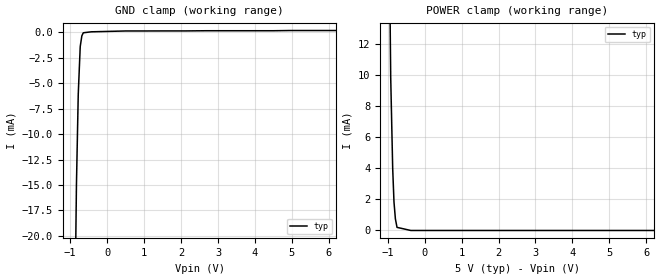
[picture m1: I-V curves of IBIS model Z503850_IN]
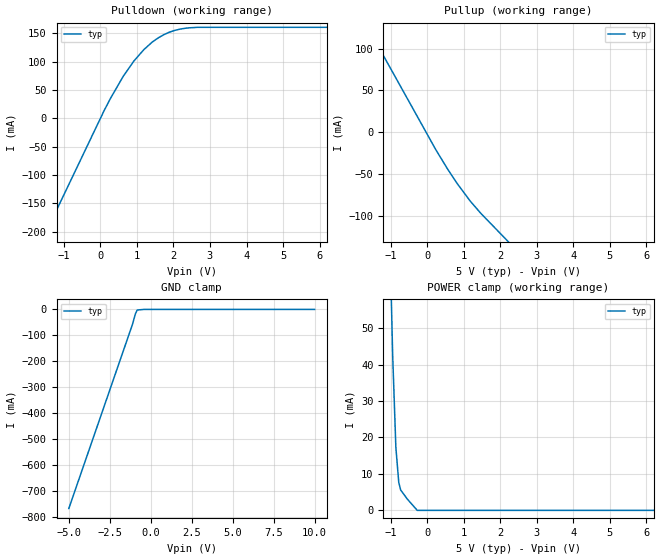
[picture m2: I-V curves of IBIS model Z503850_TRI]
| YOU ARE ONLY AUTHORIZED TO USE THIS SOFTWARE
| ACCORDING TO LICENSOR'S LICENSE RESTRICTIONS.
[IBIS Ver] 3.1
[File Name] mc74act253n.ibs
[File Rev] 2.0
[Source] Measured and created by ICX Technology
[Date] Friday 7/14/00 9:08:01 AM
[Copyright]
| (C) COPYRIGHT 1993-2000
| MENTOR GRAPHICS CORPORATION
| ICX STANDARD LIBRARY, ICX PROJECT MODELING,
| ICX CUSTOM MODELING, ICX VENDOR MODEL
| ALL RIGHTS RESERVED.
| THE FOLLOWING ARE TRADEMARKS OR SERVICE MARKS OF
| MENTOR GRAPHICS CORPORATION:ICX (R), ICX STANDARD
| LIBRARY(R), ICX PROJECT MODELING(R), ICX CUSTOM
| MODELING(R), qualityIBIS(TM), MODELVIEWER(TM),
| AND MODELEDITOR(TM)
| ALL COPIES OF SOFTWARE, INCLUDING BUT NOT LIMITED TO
| ANY MODIFICATIONS, ENHANCEMENTS OR DERIVATIVE WORKS,
| MUST CONTAIN ALL MENTOR GRAPHICS CORPORATION'S
| NOTICES AND LEGENDS, INCLUDING THOSE EMBEDDED IN
| SOFTWARE AND THOSE AFFIXED TO SOFTWARE MEDIUM
| AND CONTAINER, AS RECEIVED FROM MENTOR GRAPHICS
| CORPORATION.
|  ZAP Model Builder 2.7
[Component] MC74ACT253N
[Manufacturer] OnSemiconductor
[Package]
| variable   typ   min   max
R_pkg  .212ohms NA NA
L_pkg  4.758nH NA NA
C_pkg  1.143pF NA NA
[Pin] signal_name  model_name  R_pin  L_pin C_pin
1 _G1 Z503850_IN .224 7.258n 1.578p
2 B Z503850_IN .216 5.258n 1.288p
3 C3A Z503850_IN .208 3.758n .998p
4 C2A Z503850_IN .2 2.758n .708p
5 C1A Z503850_IN .2 2.758n .708p
6 C0A Z503850_IN .208 3.758n .998p
7 Y1 Z503850_TRI .216 5.258n 1.288p
8 GND GND .224 7.258n 1.578p
9 Y2 Z503850_TRI .224 7.258n 1.578p
10 C0B Z503850_IN .216 5.258n 1.288p
11 C1B Z503850_IN .208 3.758n .998p
12 C2B Z503850_IN .2 2.758n .708p
13 C3B Z503850_IN .2 2.758n .708p
14 A Z503850_IN .208 3.758n .998p
15 _G2 Z503850_IN .216 5.258n 1.288p
16 VCC POWER .224 7.258n 1.578p
| Models and submodels in the file (2): Z503850_IN (Input), Z503850_TRI (3-state)
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| (C) COPYRIGHT 1993-2000
| MENTOR GRAPHICS CORPORATION
| ICX STANDARD LIBRARY, ICX PROJECT MODELING,
| ICX CUSTOM MODELING, ICX VENDOR MODEL
| ALL RIGHTS RESERVED.
| THE FOLLOWING ARE TRADEMARKS OR SERVICE MARKS OF
| MENTOR GRAPHICS CORPORATION:ICX (R), ICX STANDARD
| LIBRARY(R), ICX PROJECT MODELING(R), ICX CUSTOM
| MODELING(R), qualityIBIS(TM), MODELVIEWER(TM),
| AND MODELEDITOR(TM)
| ALL COPIES OF SOFTWARE, INCLUDING BUT NOT LIMITED TO
| ANY MODIFICATIONS, ENHANCEMENTS OR DERIVATIVE WORKS,
| MUST CONTAIN ALL MENTOR GRAPHICS CORPORATION'S
| NOTICES AND LEGENDS, INCLUDING THOSE EMBEDDED IN
| SOFTWARE AND THOSE AFFIXED TO SOFTWARE MEDIUM
| AND CONTAINER, AS RECEIVED FROM MENTOR GRAPHICS
| CORPORATION.
| Model Application Version 1.89 2/18/99.
[Model] Z503850_IN
Model_type Input
Vinl = 800.0mV
Vinh = 2.000V
C_comp 4.000pF NA NA
| variable typ   min   max
[Voltage Range] 5.000V NA NA
[GND Clamp Reference] 0.000V NA NA
[POWER Clamp Reference] 5.000V NA NA
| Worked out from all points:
|   GND clamp passes 1 mA (typ) near -0.71 V on its own axis
|   POWER clamp passes 1 mA (typ) near -0.80 V on its own axis
[GND Clamp]
-5V       -2.607A    NA         NA
-1.011V   -69.76mA   NA         NA
-830.2mV  -14.98mA   NA         NA
-781.3mV  -6.082mA   NA         NA
-727.8mV  -1.402mA   NA         NA
-684.1mV  -352.2uA   NA         NA
-644.8mV  -49.21uA   NA         NA
-429.9mV  46.23uA    NA         NA
507.8mV   129.6uA    NA         NA
10V       174.1uA    NA         NA
[POWER Clamp]
-5V       1.847A     NA         NA
-1.133V   73.59mA    NA         NA
-1.016V   32.56mA    NA         NA
-918mV    9.916mA    NA         NA
-864mV    3.993mA    NA         NA
-829mV    1.837mA    NA         NA
-791mV    747.7uA    NA         NA
-747mV    200.2uA    NA         NA
-373.5mV  0A         NA         NA
10V       0A         NA         NA
| (C) COPYRIGHT 1993-2000
| MENTOR GRAPHICS CORPORATION
| ICX STANDARD LIBRARY, ICX PROJECT MODELING,
| ICX CUSTOM MODELING, ICX VENDOR MODEL
| ALL RIGHTS RESERVED.
| THE FOLLOWING ARE TRADEMARKS OR SERVICE MARKS OF
| MENTOR GRAPHICS CORPORATION:ICX (R), ICX STANDARD
| LIBRARY(R), ICX PROJECT MODELING(R), ICX CUSTOM
| MODELING(R), qualityIBIS(TM), MODELVIEWER(TM),
| AND MODELEDITOR(TM)
| ALL COPIES OF SOFTWARE, INCLUDING BUT NOT LIMITED TO
| ANY MODIFICATIONS, ENHANCEMENTS OR DERIVATIVE WORKS,
| MUST CONTAIN ALL MENTOR GRAPHICS CORPORATION'S
| NOTICES AND LEGENDS, INCLUDING THOSE EMBEDDED IN
| SOFTWARE AND THOSE AFFIXED TO SOFTWARE MEDIUM
| AND CONTAINER, AS RECEIVED FROM MENTOR GRAPHICS
| CORPORATION.
| Model Application Version 1.89 2/18/99.
[Model] Z503850_TRI
Model_type 3-state
Vref=0.000V
Rref=500.0ohms
Cref=50.00pF
Vmeas=1.500V
C_comp 8.000pF NA NA
| variable typ   min   max
[Voltage Range] 5.000V NA NA
[POWER Clamp Reference] 5.000V NA NA
[Pullup Reference] 5.000V NA NA
[Pulldown Reference] 0.000V NA NA
[GND Clamp Reference] 0.000V NA NA
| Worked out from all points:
|   slope of the pulldown table from 0 to 0.75 V, typ, clamps not added: 8.73 ohm
|   slope of the pullup table from 0 to 0.75 V, typ, clamps not added: 13.8 ohm
[GND Clamp]
-5V       -767.4mA   NA         NA
-1.118V   -58.17mA   NA         NA
-932.5mV  -16.42mA   NA         NA
-825.2mV  -2.306mA   NA         NA
-412.6mV  0A         NA         NA
10V       0A         NA         NA
[Pulldown]
-5V       -675.2mA   NA         NA
93.15mV   12.51mA    NA         NA
269.7mV   34.55mA    NA         NA
625mV     74.29mA    NA         NA
918mV     101.4mA    NA         NA
1.192V    121.6mA    NA         NA
1.417V    134.7mA    NA         NA
1.57V     141.7mA    NA         NA
1.88V     152.1mA    NA         NA
2.23V     158.3mA    NA         NA
2.666V    160.9mA    NA         NA
10V       160.9mA    NA         NA
[Pullup]
-5V       390mA      NA         NA
240mV     -21.5mA    NA         NA
557mV     -44.25mA   NA         NA
816mV     -61.35mA   NA         NA
1.172V    -82.34mA   NA         NA
1.46V     -96.97mA   NA         NA
10V       -482.8mA   NA         NA
[POWER Clamp]
-5V       2.18A      NA         NA
-1.039V   81.36mA    NA         NA
-947mV    42.78mA    NA         NA
-859mV    17.28mA    NA         NA
-780mV    7.697mA    NA         NA
-728mV    5.591mA    NA         NA
-547mV    3.115mA    NA         NA
-273.5mV  0A         NA         NA
10V       0A         NA         NA
[Ramp]
| variable typ min max
dV/dt_r 2.945/469.6p NA NA
dV/dt_f 2.945/618.2p NA NA
R_load = 500.0Ohms
